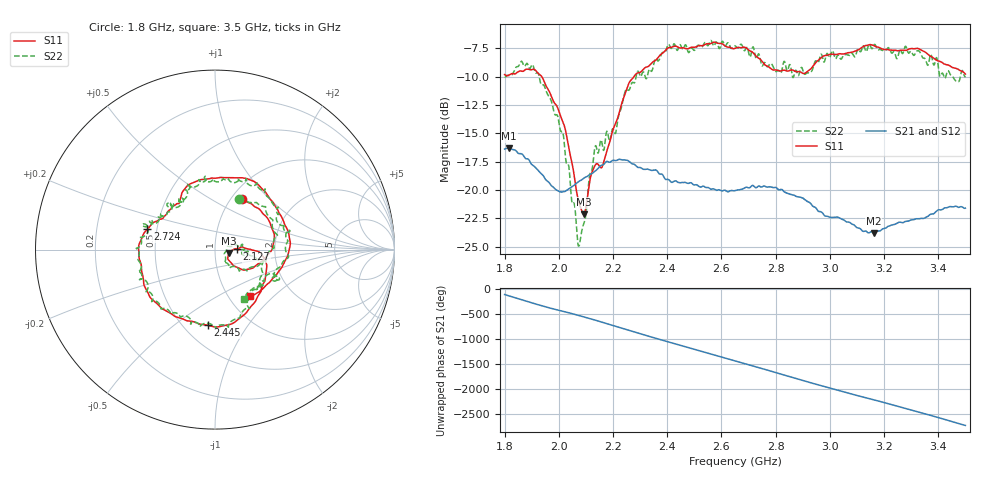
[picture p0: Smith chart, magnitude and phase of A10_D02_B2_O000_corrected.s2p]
! Created with skrf 1.9.0 (http://scikit-rf.org).
# Hz S RI R 50.0
!freq ReS11 ImS11 ReS21 ImS21 ReS12 ImS12 ReS22 ImS22
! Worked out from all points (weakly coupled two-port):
!   1601 points, 1.8 GHz to 3.5 GHz, reference 50 ohm
!   highest |S21| = -16.32 dB at 1.817 GHz (marker M1); lowest = -23.8 dB at 3.162 GHz (marker M2)
!   lowest |S11| = -22.1 dB at 2.092 GHz (marker M3), VSWR 1.17, Z = 58.1 - j2.36 ohm
!   |S11| at or under -10 dB: 1.937 GHz to 2.277 GHz (340.2 MHz wide, 16.1 % of centre)
!   |S22| runs from -25.0 to -6.8 dB; largest |S21 - S12| = 0.0026
!   S11 on the Smith chart (normalised r, x): 1.8 GHz: 1.12, +0.71; 2.127 GHz: 1.28, +0.01; 2.445 GHz: 0.65, -0.67; 2.724 GHz: 0.44, +0.12; 3.5 GHz: 1.26, -0.72
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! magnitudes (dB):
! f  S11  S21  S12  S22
! 1.8 GHz  -9.8  -16.4  -16.4  -10.0
! 1.817 GHz  -9.9  -16.3  -16.3  -9.9
! 1.902 GHz  -9.4  -17.8  -17.8  -8.9
! 1.967 GHz  -11.4  -19.4  -19.5  -11.9
! 2.021 GHz  -14.4  -20.1  -20.1  -16.1
! 2.071 GHz  -20.8  -19.3  -19.3  -24.8
! 2.084 GHz  -21.8  -19.1  -19.1  -23.7
! 2.092 GHz  -22.1  -19.0  -19.0  -23.0
! 2.127 GHz  -18.2  -18.5  -18.5  -17.4
! 2.163 GHz  -17.7  -17.8  -17.7  -16.4
! 2.209 GHz  -14.1  -17.4  -17.4  -15.0
! 2.261 GHz  -10.5  -17.5  -17.5  -11.1
! 2.367 GHz  -8.3  -18.5  -18.4  -8.6
! 2.445 GHz  -7.5  -19.4  -19.4  -7.2
! 2.65 GHz  -7.5  -20.1  -20.0  -7.3
! 2.724 GHz  -8.1  -19.8  -19.7  -8.1
! 2.81 GHz  -9.5  -20.0  -19.9  -9.4
! 2.934 GHz  -9.2  -21.4  -21.3  -9.5
! 3.162 GHz  -7.3  -23.8  -23.8  -7.2
! 3.217 GHz  -7.6  -23.2  -23.2  -7.5
! 3.327 GHz  -7.5  -22.6  -22.5  -7.7
! 3.5 GHz  -9.8  -21.6  -21.6  -10.0
